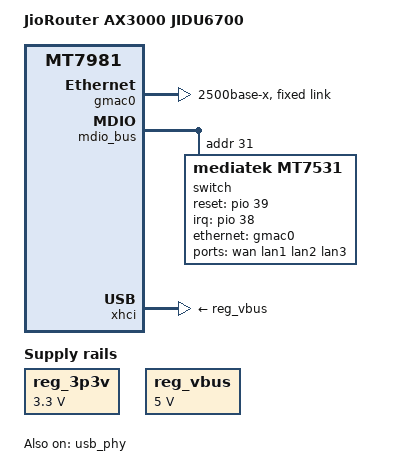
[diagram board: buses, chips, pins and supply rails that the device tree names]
// SPDX-License-Identifier: (GPL-2.0 OR MIT)

/dts-v1/;

#include <dt-bindings/interrupt-controller/irq.h>

#include "mt7981b-jio-common.dtsi"

/ {
	model = "JioRouter AX3000 JIDU6700";
	compatible = "jiorouter,ax3000-jidu6700", "mediatek,mt7981";

	aliases {
		label-mac-device = &wan;
	};

	reg_3p3v: regulator-3p3v {
		compatible = "regulator-fixed";
		regulator-name = "fixed-3.3V";
		regulator-min-microvolt = <3300000>;
		regulator-max-microvolt = <3300000>;
		regulator-boot-on;
		regulator-always-on;
	};

	reg_vbus: regulator-vbus {
		compatible = "regulator-fixed";
		regulator-name = "usb-vbus";
		regulator-min-microvolt = <5000000>;
		regulator-max-microvolt = <5000000>;
		regulator-boot-on;
		regulator-always-on;
	};
};

&eth {
	gmac0: mac@0 {
		compatible = "mediatek,eth-mac";
		reg = <0>;
		phy-mode = "2500base-x";

		nvmem-cells = <&mfg_mac 1>;
		nvmem-cell-names = "mac-address";

		fixed-link {
			speed = <2500>;
			full-duplex;
			pause;
		};
	};
};

&mdio_bus {
	switch: switch@1f {
		compatible = "mediatek,mt7531";
		reg = <31>;
		reset-gpios = <&pio 39 GPIO_ACTIVE_HIGH>;
		interrupt-controller;
		#interrupt-cells = <1>;
		interrupt-parent = <&pio>;
		interrupts = <38 IRQ_TYPE_LEVEL_HIGH>;

		ports {
			#address-cells = <1>;
			#size-cells = <0>;

			wan: port@0 {
				reg = <0>;
				label = "wan";

				nvmem-cells = <&mfg_mac 0>;
				nvmem-cell-names = "mac-address";
			};

			port@1 {
				reg = <1>;
				label = "lan1";
			};

			port@2 {
				reg = <2>;
				label = "lan2";
			};

			port@3 {
				reg = <3>;
				label = "lan3";
			};

			port@6 {
				reg = <6>;
				ethernet = <&gmac0>;
				phy-mode = "2500base-x";

				fixed-link {
					speed = <2500>;
					full-duplex;
					pause;
				};
			};
		};
	};
};

&usb_phy {
	status = "okay";
};

&xhci {
	vusb33-supply = <&reg_3p3v>;
	vbus-supply = <&reg_vbus>;
	status = "okay";
};
